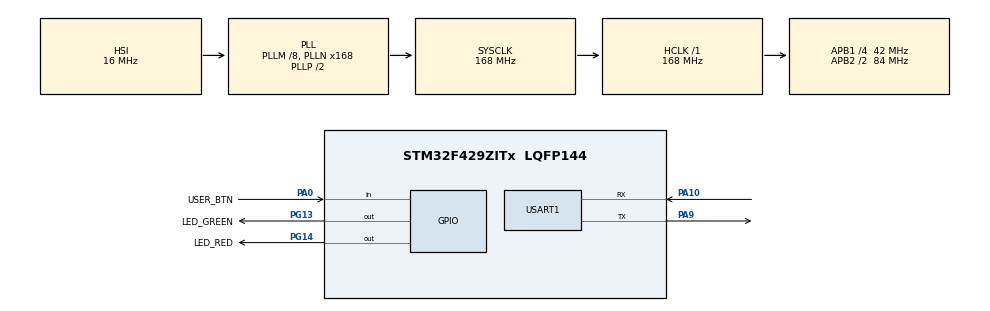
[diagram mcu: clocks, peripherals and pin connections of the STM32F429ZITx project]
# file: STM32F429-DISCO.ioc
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Dma.Request0=USART1_RX
Dma.Request1=USART1_TX
Dma.USART1_RX.0.Direction=DMA_PERIPH_TO_MEMORY
Dma.USART1_RX.0.FIFOMode=DMA_FIFOMODE_DISABLE
Dma.USART1_RX.0.Instance=DMA2_Stream2
Dma.USART1_RX.0.MemDataAlignment=DMA_MDATAALIGN_BYTE
Dma.USART1_RX.0.MemInc=DMA_MINC_ENABLE
Dma.USART1_RX.0.Mode=DMA_NORMAL
Dma.USART1_RX.0.PeriphDataAlignment=DMA_PDATAALIGN_BYTE
Dma.USART1_RX.0.PeriphInc=DMA_PINC_DISABLE
Dma.USART1_RX.0.Priority=DMA_PRIORITY_LOW
Dma.USART1_TX.1.Direction=DMA_MEMORY_TO_PERIPH
Dma.USART1_TX.1.FIFOMode=DMA_FIFOMODE_DISABLE
Dma.USART1_TX.1.Instance=DMA2_Stream7
Dma.USART1_TX.1.MemDataAlignment=DMA_MDATAALIGN_BYTE
Dma.USART1_TX.1.MemInc=DMA_MINC_ENABLE
Dma.USART1_TX.1.Mode=DMA_NORMAL
Dma.USART1_TX.1.PeriphDataAlignment=DMA_PDATAALIGN_BYTE
Dma.USART1_TX.1.PeriphInc=DMA_PINC_DISABLE
Dma.USART1_TX.1.Priority=DMA_PRIORITY_LOW
Mcu.Family=STM32F4
Mcu.Name=STM32F429ZITx
Mcu.Package=LQFP144
NVIC.DMA2_Stream2_IRQn=true\:0\:0\:false\:false\:true\:false\:true
NVIC.DMA2_Stream7_IRQn=true\:0\:0\:false\:false\:true\:false\:true
NVIC.PriorityGroup=NVIC_PRIORITYGROUP_4
NVIC.USART1_IRQn=true\:0\:0\:false\:false\:true\:true\:true
PA0/WKUP.GPIO_Label=USER_BTN
PA0/WKUP.Signal=GPIO_Input
PA10.Mode=Asynchronous
PA10.Signal=USART1_RX
PA9.Mode=Asynchronous
PA9.Signal=USART1_TX
PG13.GPIO_Label=LED_GREEN
PG13.Signal=GPIO_Output
PG14.GPIO_Label=LED_RED
PG14.Signal=GPIO_Output
ProjectManager.HeapSize=0x200
ProjectManager.StackSize=0x400
ProjectManager.TargetToolchain=MDK-ARM V5.27
RCC.48MHZClocksFreq_Value=112000000
RCC.AHBFreq_Value=168000000
RCC.APB1CLKDivider=RCC_HCLK_DIV4
RCC.APB1Freq_Value=42000000
RCC.APB1TimFreq_Value=84000000
RCC.APB2CLKDivider=RCC_HCLK_DIV2
RCC.APB2Freq_Value=84000000
RCC.APB2TimFreq_Value=168000000
RCC.CortexFreq_Value=168000000
RCC.HCLKFreq_Value=168000000
RCC.HSE_VALUE=8000000
RCC.HSI_VALUE=16000000
RCC.LSE_VALUE=32768
RCC.PLLM=8
RCC.PLLN=168
RCC.PLLQ=3
RCC.PLLSAIN=50
RCC.SYSCLKFreq_VALUE=168000000
RCC.SYSCLKSource=RCC_SYSCLKSOURCE_PLLCLK
RCC.VCOOutputFreq_Value=336000000
USART1.VirtualMode=VM_ASYNC
board=STM32F429I-DISC1

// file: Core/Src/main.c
/* USER CODE BEGIN Header */
/**
  ******************************************************************************
  * @file           : main.c
  * @brief          : Main program body
  ******************************************************************************
  * @attention
  *
  * <h2><center>&copy; Copyright (c) 2022 STMicroelectronics.
  * All rights reserved.</center></h2>
  *
  * This software component is licensed by ST under BSD 3-Clause license,
  * the "License"; You may not use this file except in compliance with the
  * License. You may obtain a copy of the License at:
  *                        opensource.org/licenses/BSD-3-Clause
  *
  ******************************************************************************
  */
/* USER CODE END Header */
#include "main.h"

/* USER CODE BEGIN Includes */
#include "UARTStream.h"
/* USER CODE END Includes */

UART_HandleTypeDef huart1;
DMA_HandleTypeDef hdma_usart1_rx;
DMA_HandleTypeDef hdma_usart1_tx;

/* USER CODE BEGIN PV */

static uint8_t	streamRxBuff[64];
static uint8_t	streamTxBuff[64];

static UARTStream stream;
/* USER CODE END PV */

void SystemClock_Config(void);
static void MX_GPIO_Init(void);
static void MX_DMA_Init(void);
static void MX_USART1_UART_Init(void);

int main(void)
{
  /* USER CODE BEGIN 1 */
  uint8_t cnt = 0;
  /* USER CODE END 1 */

  /* MCU Configuration--------------------------------------------------------*/

  /* Reset of all peripherals, Initializes the Flash interface and the Systick. */
  HAL_Init();

  /* Configure the system clock */
  SystemClock_Config();

  /* Initialize all configured peripherals */
  MX_GPIO_Init();
  MX_DMA_Init();
  MX_USART1_UART_Init();
  /* USER CODE BEGIN 2 */
  UARTStream_init(&stream, &huart1, &hdma_usart1_rx, &hdma_usart1_tx, streamRxBuff, sizeof(streamRxBuff), streamTxBuff, sizeof(streamTxBuff));
  /* USER CODE END 2 */

  /* Infinite loop */
  /* USER CODE BEGIN WHILE */
  OStream_writeBytes(&stream.Output, (uint8_t*) "Running...\r\n", 12);
  OStream_flush(&stream.Output);
  IStream_receive(&stream.Input);
  while (1)
  {
    if (IStream_available(&stream.Input) > 0) {
      OStream_writeUInt8(&stream.Output, IStream_readUInt8(&stream.Input));
      OStream_flush(&stream.Output);
    }

    /* USER CODE END WHILE */

  }
}

void SystemClock_Config(void)
{
  RCC_OscInitTypeDef RCC_OscInitStruct = {0};
  RCC_ClkInitTypeDef RCC_ClkInitStruct = {0};

  /** Configure the main internal regulator output voltage
  */
  __HAL_RCC_PWR_CLK_ENABLE();
  __HAL_PWR_VOLTAGESCALING_CONFIG(PWR_REGULATOR_VOLTAGE_SCALE1);
  /** Initializes the RCC Oscillators according to the specified parameters
  * in the RCC_OscInitTypeDef structure.
  */
  RCC_OscInitStruct.OscillatorType = RCC_OSCILLATORTYPE_HSI;
  RCC_OscInitStruct.HSIState = RCC_HSI_ON;
  RCC_OscInitStruct.HSICalibrationValue = RCC_HSICALIBRATION_DEFAULT;
  RCC_OscInitStruct.PLL.PLLState = RCC_PLL_ON;
  RCC_OscInitStruct.PLL.PLLSource = RCC_PLLSOURCE_HSI;
  RCC_OscInitStruct.PLL.PLLM = 8;
  RCC_OscInitStruct.PLL.PLLN = 168;
  RCC_OscInitStruct.PLL.PLLP = RCC_PLLP_DIV2;
  RCC_OscInitStruct.PLL.PLLQ = 3;
  if (HAL_RCC_OscConfig(&RCC_OscInitStruct) != HAL_OK)
  {
    Error_Handler();
  }
  /** Initializes the CPU, AHB and APB buses clocks
  */
  RCC_ClkInitStruct.ClockType = RCC_CLOCKTYPE_HCLK|RCC_CLOCKTYPE_SYSCLK
                              |RCC_CLOCKTYPE_PCLK1|RCC_CLOCKTYPE_PCLK2;
  RCC_ClkInitStruct.SYSCLKSource = RCC_SYSCLKSOURCE_PLLCLK;
  RCC_ClkInitStruct.AHBCLKDivider = RCC_SYSCLK_DIV1;
  RCC_ClkInitStruct.APB1CLKDivider = RCC_HCLK_DIV4;
  RCC_ClkInitStruct.APB2CLKDivider = RCC_HCLK_DIV2;

  if (HAL_RCC_ClockConfig(&RCC_ClkInitStruct, FLASH_LATENCY_5) != HAL_OK)
  {
    Error_Handler();
  }
}

static void MX_USART1_UART_Init(void)
{

  huart1.Instance = USART1;
  huart1.Init.BaudRate = 115200;
  huart1.Init.WordLength = UART_WORDLENGTH_8B;
  huart1.Init.StopBits = UART_STOPBITS_1;
  huart1.Init.Parity = UART_PARITY_NONE;
  huart1.Init.Mode = UART_MODE_TX_RX;
  huart1.Init.HwFlowCtl = UART_HWCONTROL_NONE;
  huart1.Init.OverSampling = UART_OVERSAMPLING_16;
  if (HAL_UART_Init(&huart1) != HAL_OK)
  {
    Error_Handler();
  }

}

static void MX_DMA_Init(void)
{

  /* DMA controller clock enable */
  __HAL_RCC_DMA2_CLK_ENABLE();

  /* DMA interrupt init */
  /* DMA2_Stream2_IRQn interrupt configuration */
  HAL_NVIC_SetPriority(DMA2_Stream2_IRQn, 0, 0);
  HAL_NVIC_EnableIRQ(DMA2_Stream2_IRQn);
  /* DMA2_Stream7_IRQn interrupt configuration */
  HAL_NVIC_SetPriority(DMA2_Stream7_IRQn, 0, 0);
  HAL_NVIC_EnableIRQ(DMA2_Stream7_IRQn);

}

static void MX_GPIO_Init(void)
{
  GPIO_InitTypeDef GPIO_InitStruct = {0};

  /* GPIO Ports Clock Enable */
  __HAL_RCC_GPIOA_CLK_ENABLE();
  __HAL_RCC_GPIOG_CLK_ENABLE();

  /*Configure GPIO pin Output Level */
  HAL_GPIO_WritePin(GPIOG, LED_GREEN_Pin|LED_RED_Pin, GPIO_PIN_RESET);

  /*Configure GPIO pin : USER_BTN_Pin */
  GPIO_InitStruct.Pin = USER_BTN_Pin;
  GPIO_InitStruct.Mode = GPIO_MODE_INPUT;
  GPIO_InitStruct.Pull = GPIO_NOPULL;
  HAL_GPIO_Init(USER_BTN_GPIO_Port, &GPIO_InitStruct);

  /*Configure GPIO pins : LED_GREEN_Pin LED_RED_Pin */
  GPIO_InitStruct.Pin = LED_GREEN_Pin|LED_RED_Pin;
  GPIO_InitStruct.Mode = GPIO_MODE_OUTPUT_PP;
  GPIO_InitStruct.Pull = GPIO_NOPULL;
  GPIO_InitStruct.Speed = GPIO_SPEED_FREQ_LOW;
  HAL_GPIO_Init(GPIOG, &GPIO_InitStruct);

}

/* USER CODE BEGIN 4 */
void HAL_UART_TxCpltCallback(UART_HandleTypeDef *huart) {
	switch ((uint32_t) huart->Instance) {
		case USART1_BASE:
			UARTStream_txHandle(&stream);
			break;
	}
}
void HAL_UART_RxCpltCallback(UART_HandleTypeDef *huart) {
	switch ((uint32_t) huart->Instance) {
		case USART1_BASE:
			UARTStream_rxHandle(&stream);
			break;
	}
}
/* USER CODE END 4 */

void Error_Handler(void)
{
  __disable_irq();
  while (1)
  {
  }
}

/************************ (C) COPYRIGHT STMicroelectronics *****END OF FILE****/
